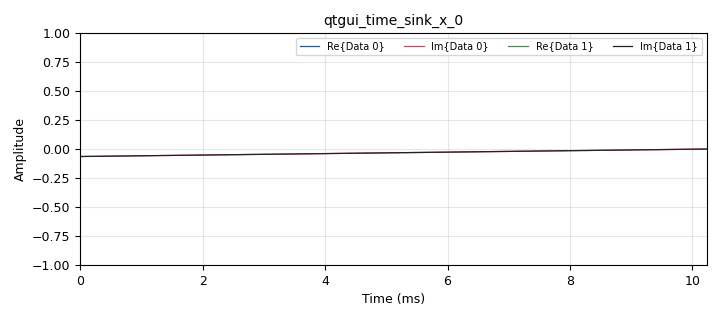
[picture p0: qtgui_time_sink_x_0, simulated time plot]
options:
  parameters:
    generate_options: qt_gui
    id: pll_freq_det
    output_language: python
    title: PLL Freq Det
  states: {}

blocks:
- name: freq
  id: variable_qtgui_range
  parameters:
    label: Frequency (Hz)
    orient: Qt.Horizontal
    start: '-samp_rate/2'
    step: samp_rate/1000
    stop: samp_rate/2
    value: '1'
  states: {}
- name: freq_offset
  id: variable_qtgui_range
  parameters:
    label: Frequency Offset
    orient: Qt.Horizontal
    start: '0'
    step: '1e-2'
    stop: '1'
    value: '0'
  states: {}
- name: noise_voltage
  id: variable_qtgui_range
  parameters:
    label: Noise Voltage
    orient: Qt.Horizontal
    start: '0'
    step: '1e-2'
    stop: '1'
    value: '0'
  states: {}
- name: samp_rate
  id: variable
  parameters:
    value: 100e3
  states: {}
- name: analog_pll_freqdet_cf_0
  id: analog_pll_freqdet_cf
  parameters:
    max_freq: pi
    min_freq: '-pi'
    w: pi/10
  states: {}
- name: analog_sig_source_x_0
  id: analog_sig_source_x
  parameters:
    amp: '1'
    freq: freq
    offset: '0'
    phase: '0'
    samp_rate: samp_rate
    type: complex
    waveform: analog.GR_COS_WAVE
  states: {}
- name: blocks_multiply_const_vxx_1
  id: blocks_multiply_const_vxx
  parameters:
    const: samp_rate/(2*pi)
    type: float
  states: {}
- name: blocks_throttle_0
  id: blocks_throttle
  parameters:
    samples_per_second: samp_rate
    type: complex
  states: {}
- name: channels_channel_model_0
  id: channels_channel_model
  parameters:
    epsilon: '1.0'
    freq_offset: freq_offset
    noise_voltage: noise_voltage
    seed: '0'
    taps: '1'
  states: {}
- name: import_0
  id: import
  parameters:
    imports: from math import pi
  states: {}
- name: note_0
  id: note
  parameters:
    comment: |-
      Have a signal source that we want to estimate the frequency of.
      Assume that it is not aliased.
      The PLL Freq Det maps that frequency range to [-min_freq, max_freq].
      We need to scale it by sample rate/(2*pi) to map that output number back to the frequency range space.

      The PLL Freq doesn't work well if we have a somewhat large noise voltage.
  states: {}
- name: qtgui_number_sink_0
  id: qtgui_number_sink
  parameters:
    graph_type: qtgui.NUM_GRAPH_HORIZ
    name: Raw
    type: float
  states: {}
- name: qtgui_number_sink_0_0
  id: qtgui_number_sink
  parameters:
    graph_type: qtgui.NUM_GRAPH_HORIZ
    name: Frequency
    type: float
  states: {}
- name: qtgui_time_sink_x_0
  id: qtgui_time_sink_x
  parameters:
    nconnections: '2'
    size: '1024'
    srate: samp_rate
    type: complex
  states: {}

connections:
- [analog_pll_freqdet_cf_0, '0', blocks_multiply_const_vxx_1, '0']
- [analog_pll_freqdet_cf_0, '0', qtgui_number_sink_0, '0']
- [analog_sig_source_x_0, '0', blocks_throttle_0, '0']
- [blocks_multiply_const_vxx_1, '0', qtgui_number_sink_0_0, '0']
- [blocks_throttle_0, '0', channels_channel_model_0, '0']
- [blocks_throttle_0, '0', qtgui_time_sink_x_0, '0']
- [channels_channel_model_0, '0', analog_pll_freqdet_cf_0, '0']
- [channels_channel_model_0, '0', qtgui_time_sink_x_0, '1']

metadata:
  file_format: 1
